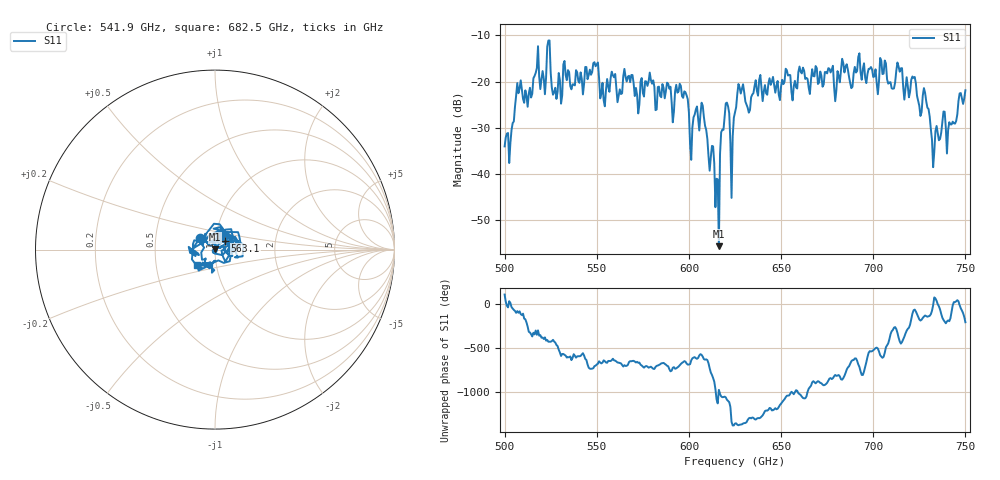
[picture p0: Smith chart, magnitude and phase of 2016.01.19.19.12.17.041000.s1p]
!Created with skrf (http://scikit-rf.org).
# GHz S RI R 50.0
!freq ReS11 ImS11
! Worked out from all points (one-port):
!   401 points, 500 GHz to 750 GHz, reference 50 ohm
!   lowest |S11| = -55.6 dB at 616.2 GHz (marker M1), VSWR 1.00, Z = 50 + j0.163 ohm
!   |S11| at or under -10 dB: start of sweep to end of sweep
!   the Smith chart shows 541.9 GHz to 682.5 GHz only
!   S11 on the Smith chart (normalised r, x): 541.9 GHz: 0.84, +0.11; 563.1 GHz: 1.11, +0.11; 682.5 GHz: 0.81, -0.14
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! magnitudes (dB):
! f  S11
! 500 GHz  -34.0
! 503.8 GHz  -30.5
! 507.5 GHz  -22.5
! 513.8 GHz  -21.3
! 516.9 GHz  -18.1
! 531.2 GHz  -23.0
! 541.9 GHz  -19.4
! 549.4 GHz  -16.7
! 553.1 GHz  -20.3
! 558.8 GHz  -18.6
! 562.5 GHz  -21.7
! 563.1 GHz  -22.7
! 593.8 GHz  -22.4
! 601.2 GHz  -36.9
! 607.5 GHz  -25.2
! 615 GHz  -41.0
! 616.2 GHz  -55.6
! 620 GHz  -24.7
! 623.1 GHz  -45.2
! 625 GHz  -26.7
! 628.1 GHz  -22.6
! 656.2 GHz  -24.1
! 682.5 GHz  -17.6
! 687.5 GHz  -20.3
! 718.8 GHz  -21.0
! 728.1 GHz  -22.4
! 732.5 GHz  -38.5
! 750 GHz  -21.9
